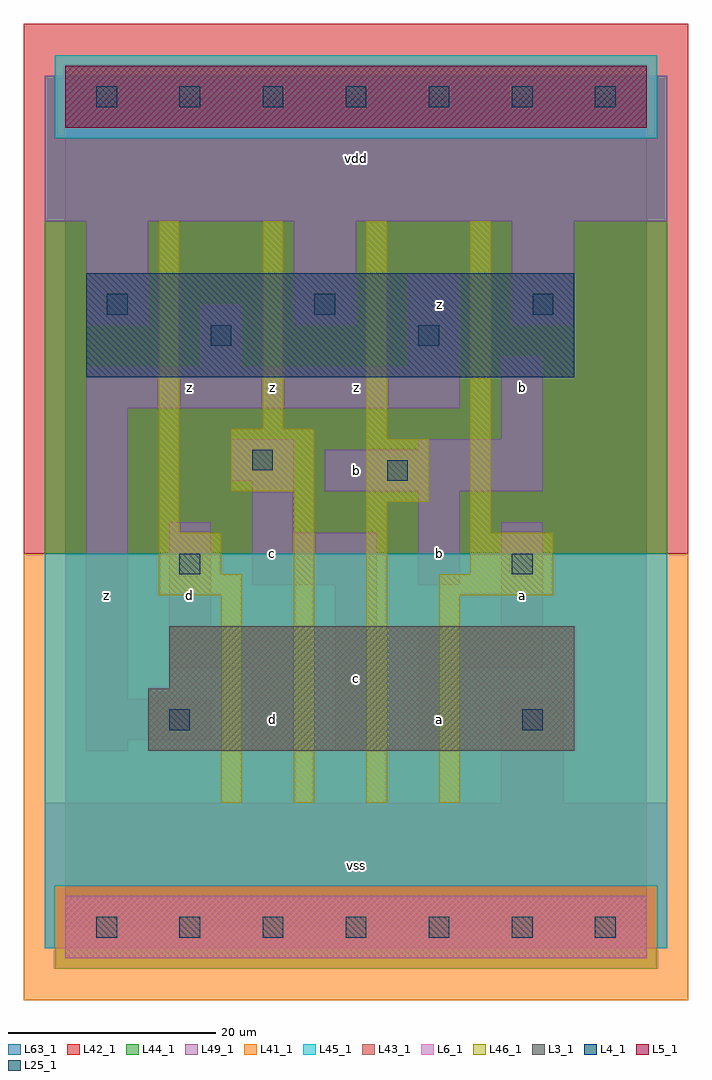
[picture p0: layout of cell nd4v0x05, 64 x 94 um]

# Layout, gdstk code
import gdstk
lib = gdstk.Library(unit=1e-6, precision=1e-09)
def R(c, l, rs):  # rectangles x0, y0, x1, y1
    for r in rs: c.add(gdstk.rectangle(r[:2], r[2:], *l))
def A(c, l, x, y, w, h, nx, ny, dx, dy):  # array of equal rectangles
    R(c, l, [(x+i*dx, y+j*dy, x+i*dx+w, y+j*dy+h) for i in range(nx) for j in range(ny)])
L3_1 = (3, 1)
L4_1 = (4, 1)
L5_1 = (5, 1)
L6_1 = (6, 1)
L25_1 = (25, 1)
L41_1 = (41, 1)
L42_1 = (42, 1)
L43_1 = (43, 1)
L44_1 = (44, 1)
L45_1 = (45, 1)
L46_1 = (46, 1)
L49_1 = (49, 1)
L63_1 = (63, 1)

nd4v0x05 = lib.new_cell('nd4v0x05')
R(nd4v0x05, L3_1, [(8,17,49,23), (10,23,49,29)])
R(nd4v0x05, L4_1, [(2,53,49,63)])
R(nd4v0x05, L5_1, [(0,77,56,83)])
R(nd4v0x05, L6_1, [(0,-3,56,3), (0,-3,56,3)])
A(nd4v0x05, L25_1, 3, -1, 2, 2, 7, 2, 8, 80)
R(nd4v0x05, L25_1, [(10,19,12,21), (44,19,46,21), (11,34,13,36), (43,34,45,36), (31,43,33,45), (18,44,20,46), (14,56,16,58), (34,56,36,58), (4,59,6,61), (24,59,26,61), (45,59,47,61)])
R(nd4v0x05, L41_1, [(-4,-7,60,36)])
R(nd4v0x05, L42_1, [(-4,36,60,87)])
R(nd4v0x05, L43_1, [(0,-3,56,3), (8,17,49,23), (10,23,49,29), (2,53,49,63), (0,77,56,83)])
R(nd4v0x05, L44_1, [(-1,-4,57,4), (-2,36,58,76), (-2,76,-1,82), (57,76,58,82)])
R(nd4v0x05, L45_1, [(-2,-2,-1,4), (57,-2,58,4), (-2,4,58,36), (-1,76,57,84)])
R(nd4v0x05, L46_1, [(15,12,17,32), (22,12,24,42), (29,12,31,41), (36,12,38,32), (9,32,17,34), (36,32,47,34), (9,34,15,38), (39,34,47,38), (9,38,11,68), (39,38,41,68), (29,41,35,47), (16,42,24,48), (29,47,31,68), (19,48,21,68)])
R(nd4v0x05, L49_1, [(-2,-2,58,12), (42,12,48,22), (2,17,6,18), (18,17,22,25), (26,17,30,33), (34,17,38,25), (2,18,14,22), (2,22,6,50), (10,25,22,29), (34,25,46,29), (10,29,14,39), (42,29,46,39), (18,33,30,38), (34,33,38,42), (18,38,22,43), (25,42,46,46), (16,43,22,47), (34,46,46,47), (42,47,46,55), (2,50,38,54), (13,54,17,60), (33,54,38,63), (2,58,8,68), (22,58,28,68), (43,58,49,68), (-2,68,58,82)])
R(nd4v0x05, L63_1, [(0,0,56,80)])
nd4v0x05.add(gdstk.Label('z', (4,32), layer=49, texttype=1))
nd4v0x05.add(gdstk.Label('d', (12,32), layer=49, texttype=1))
nd4v0x05.add(gdstk.Label('z', (12,52), layer=49, texttype=1))
nd4v0x05.add(gdstk.Label('vss', (28,6), layer=49, texttype=1))
nd4v0x05.add(gdstk.Label('d', (20,20), layer=49, texttype=1))
nd4v0x05.add(gdstk.Label('c', (28,24), layer=49, texttype=1))
nd4v0x05.add(gdstk.Label('c', (20,36), layer=49, texttype=1))
nd4v0x05.add(gdstk.Label('b', (28,44), layer=49, texttype=1))
nd4v0x05.add(gdstk.Label('z', (28,52), layer=49, texttype=1))
nd4v0x05.add(gdstk.Label('z', (20,52), layer=49, texttype=1))
nd4v0x05.add(gdstk.Label('vdd', (28,74), layer=49, texttype=1))
nd4v0x05.add(gdstk.Label('a', (36,20), layer=49, texttype=1))
nd4v0x05.add(gdstk.Label('a', (44,32), layer=49, texttype=1))
nd4v0x05.add(gdstk.Label('b', (36,36), layer=49, texttype=1))
nd4v0x05.add(gdstk.Label('b', (44,52), layer=49, texttype=1))
nd4v0x05.add(gdstk.Label('z', (36,60), layer=49, texttype=1))

lib.write_gds('nd4v0x05.gds')
